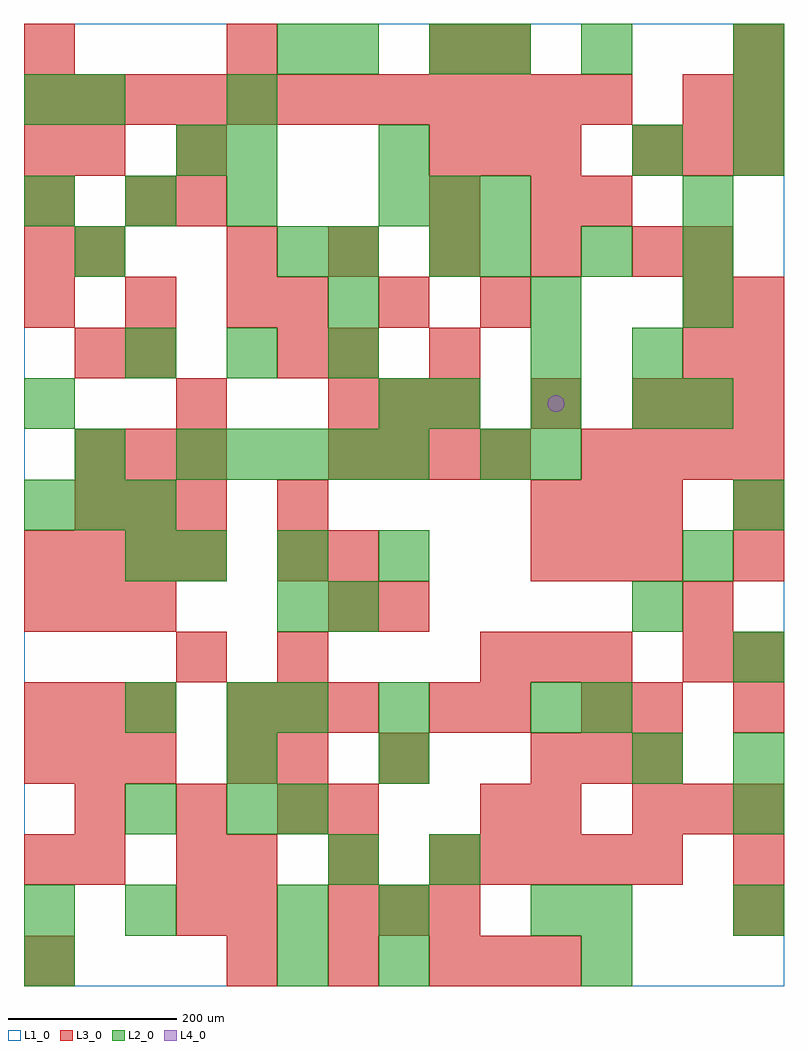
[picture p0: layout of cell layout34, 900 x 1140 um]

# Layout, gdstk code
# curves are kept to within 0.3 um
import gdstk
lib = gdstk.Library(unit=1e-6, precision=1e-09)
def R(c, l, rs):  # rectangles x0, y0, x1, y1
    for r in rs: c.add(gdstk.rectangle(r[:2], r[2:], *l))
def A(c, l, x, y, w, h, nx, ny, dx, dy):  # array of equal rectangles
    R(c, l, [(x+i*dx, y+j*dy, x+i*dx+w, y+j*dy+h) for i in range(nx) for j in range(ny)])
def P(c, l, *ps):  # polygons
    for p in ps: c.add(gdstk.Polygon(p, *l))
L1_0 = (1, 0)
L2_0 = (2, 0)
L3_0 = (3, 0)
L4_0 = (4, 0)

layout34 = lib.new_cell('layout34')
R(layout34, L1_0, [(0,0,900,1140)])
A(layout34, L2_0, 120, 60, 60, 60, 1, 3, 0, 120)
A(layout34, L2_0, 300, 60, 60, 60, 1, 4, 0, 120)
A(layout34, L2_0, 240, 180, 60, 60, 1, 3, 0, 60)
A(layout34, L2_0, 180, 480, 60, 60, 3, 1, 120, 0)
A(layout34, L2_0, 0, 540, 60, 60, 3, 1, 60, 0)
A(layout34, L2_0, 180, 600, 60, 60, 5, 1, 60, 0)
A(layout34, L2_0, 480, 660, 60, 60, 3, 1, 120, 0)
A(layout34, L2_0, 780, 660, 60, 60, 1, 3, 0, 120)
A(layout34, L2_0, 120, 720, 60, 60, 3, 1, 120, 0)
A(layout34, L2_0, 540, 840, 60, 60, 3, 1, 120, 0)
A(layout34, L2_0, 0, 900, 60, 60, 3, 1, 120, 0)
A(layout34, L2_0, 420, 900, 60, 60, 3, 1, 60, 0)
A(layout34, L2_0, 840, 960, 60, 60, 1, 3, 0, 60)
R(layout34, L2_0, [(0,0,60,60), (300,0,360,60), (420,0,480,60), (660,0,720,60), (0,60,60,120), (420,60,480,120), (600,60,660,120), (660,60,720,120), (840,60,900,120), (360,120,420,180), (480,120,540,180), (840,180,900,240), (420,240,480,300), (720,240,780,300), (840,240,900,300), (420,300,480,360), (600,300,660,360), (660,300,720,360), (840,360,900,420), (360,420,420,480), (720,420,780,480), (120,480,180,540), (780,480,840,540), (840,540,900,600), (60,600,120,660), (540,600,600,660), (600,600,660,660), (0,660,60,720), (420,660,480,720), (600,720,660,780), (720,720,780,780), (360,780,420,840), (600,780,660,840), (60,840,120,900), (300,840,360,900), (360,840,420,900), (480,840,540,900), (180,960,240,1020), (240,960,300,1020), (420,960,480,1020), (720,960,780,1020), (0,1020,60,1080), (60,1020,120,1080), (240,1020,300,1080), (300,1080,360,1140), (360,1080,420,1140), (480,1080,540,1140), (540,1080,600,1140), (660,1080,720,1140)])
A(layout34, L3_0, 240, 0, 60, 60, 3, 2, 120, 120)
A(layout34, L3_0, 360, 60, 60, 60, 3, 2, 60, 600)
A(layout34, L3_0, 540, 120, 60, 60, 4, 1, 60, 0)
A(layout34, L3_0, 60, 180, 60, 60, 3, 1, 120, 0)
A(layout34, L3_0, 720, 180, 60, 60, 3, 2, 60, 480)
A(layout34, L3_0, 0, 240, 60, 60, 3, 2, 60, 60)
A(layout34, L3_0, 300, 240, 60, 60, 1, 3, 0, 120)
A(layout34, L3_0, 600, 240, 60, 60, 3, 2, 60, 240)
A(layout34, L3_0, 240, 300, 60, 60, 3, 1, 60, 0)
A(layout34, L3_0, 540, 360, 60, 60, 3, 1, 60, 0)
A(layout34, L3_0, 0, 420, 60, 60, 3, 1, 60, 0)
A(layout34, L3_0, 0, 480, 60, 60, 4, 1, 60, 0)
A(layout34, L3_0, 60, 540, 60, 60, 3, 2, 60, 60)
A(layout34, L3_0, 600, 540, 60, 60, 3, 1, 60, 0)
A(layout34, L3_0, 360, 600, 60, 60, 4, 1, 60, 0)
A(layout34, L3_0, 660, 600, 60, 60, 4, 1, 60, 0)
A(layout34, L3_0, 60, 720, 60, 60, 1, 3, 0, 120)
A(layout34, L3_0, 780, 720, 60, 60, 1, 3, 0, 60)
A(layout34, L3_0, 0, 780, 60, 60, 3, 1, 120, 0)
A(layout34, L3_0, 300, 780, 60, 60, 3, 1, 120, 0)
A(layout34, L3_0, 0, 840, 60, 60, 1, 3, 0, 60)
A(layout34, L3_0, 240, 840, 60, 60, 5, 1, 120, 0)
A(layout34, L3_0, 480, 960, 60, 60, 3, 1, 60, 0)
A(layout34, L3_0, 720, 960, 60, 60, 3, 1, 60, 0)
A(layout34, L3_0, 0, 1020, 60, 60, 12, 1, 60, 0)
A(layout34, L3_0, 0, 1080, 60, 60, 3, 1, 240, 0)
R(layout34, L3_0, [(0,0,60,60), (540,0,600,60), (600,0,660,60), (180,60,240,120), (240,60,300,120), (840,60,900,120), (0,120,60,180), (60,120,120,180), (180,120,240,180), (840,120,900,180), (360,180,420,240), (540,180,600,240), (600,180,660,240), (240,240,300,300), (420,240,480,300), (480,300,540,360), (540,300,600,360), (660,300,720,360), (720,300,780,360), (840,300,900,360), (180,360,240,420), (780,360,840,420), (840,360,900,420), (360,420,420,480), (420,420,480,480), (780,420,840,480), (360,480,420,540), (840,480,900,540), (300,540,360,600), (840,540,900,600), (180,660,240,720), (600,660,660,720), (120,720,180,780), (300,720,360,780), (360,720,420,780), (480,720,540,780), (840,720,900,780), (840,780,900,840), (120,900,180,960), (180,900,240,960), (480,900,540,960), (600,900,660,960), (660,900,720,960), (180,960,240,1020), (780,1020,840,1080), (840,1020,900,1080), (540,1080,600,1140), (840,1080,900,1140)])
P(layout34, L4_0, [(640,690),(639.239,693.827),(637.071,697.071),(633.827,699.239),(630,700),(626.173,699.239),(622.929,697.071),(620.761,693.827),(620,690),(620.761,686.173),(622.929,682.929),(626.173,680.761),(630,680),(633.827,680.761),(637.071,682.929),(639.239,686.173)])

lib.write_gds('layout34.gds')
